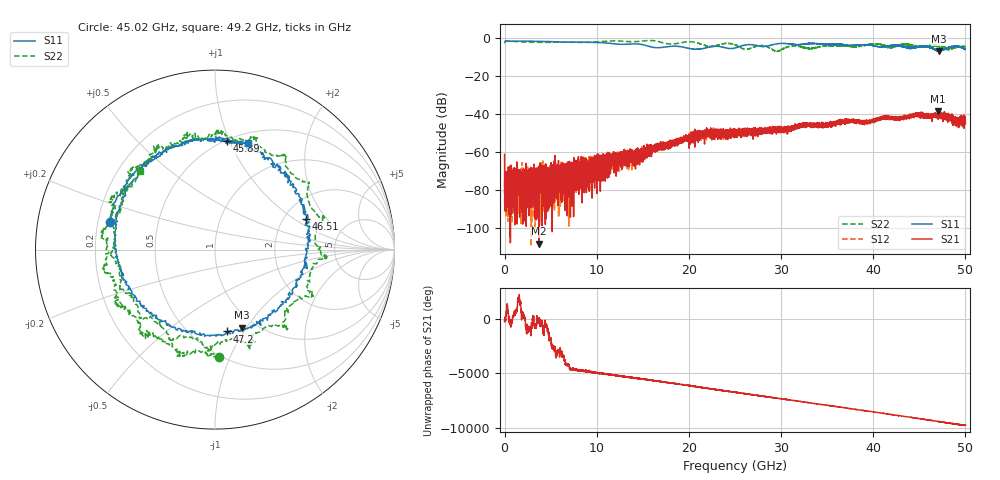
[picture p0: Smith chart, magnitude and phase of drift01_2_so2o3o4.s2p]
!Created with skrf (http://scikit-rf.org).
# Hz S RI R 50.0
!freq ReS11 ImS11 ReS21 ImS21 ReS12 ImS12 ReS22 ImS22
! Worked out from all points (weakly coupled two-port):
!   10001 points, 300 kHz to 50 GHz, reference 50 ohm
!   highest |S21| = -38.24 dB at 47.06 GHz (marker M1); lowest = -108.3 dB at 3.71 GHz (marker M2)
!   lowest |S11| = -6.7 dB at 47.15 GHz (marker M3), VSWR 2.71, Z = 43.4 - j47.9 ohm
!   |S11| at or under -10 dB: nowhere
!   |S22| runs from -6.9 to -1.1 dB; largest |S21 - S12| = 0.0037
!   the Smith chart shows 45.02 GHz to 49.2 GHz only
!   S11 on the Smith chart (normalised r, x): 45.02 GHz: 0.25, +0.12; 45.89 GHz: 0.51, +0.98; 46.51 GHz: 2.61, +1.25; 47.2 GHz: 0.73, -0.85; 49.2 GHz: 0.60, +1.17
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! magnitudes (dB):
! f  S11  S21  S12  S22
! 300 kHz  -2.1  -61.1  -75.0  -1.3
! 255.3 MHz  -1.4  -81.3  -76.8  -1.4
! 3.71 GHz  -1.5  -108.3  -78.3  -2.0
! 6.755 GHz  -2.0  -93.2  -66.3  -1.9
! 8.335 GHz  -2.0  -70.9  -65.6  -2.1
! 16.67 GHz  -4.9  -56.6  -58.2  -1.6
! 22.01 GHz  -4.8  -50.1  -48.4  -4.0
! 25 GHz  -5.0  -52.2  -51.1  -3.4
! 26.17 GHz  -3.4  -51.2  -49.1  -5.8
! 28.09 GHz  -4.3  -48.5  -48.1  -3.8
! 29.51 GHz  -2.9  -48.2  -48.7  -6.7
! 31.26 GHz  -3.2  -47.8  -46.7  -3.9
! 33.34 GHz  -2.6  -45.4  -46.1  -5.3
! 41.67 GHz  -3.9  -41.5  -41.9  -4.7
! 45.02 GHz  -4.3  -40.0  -40.2  -4.5
! 45.89 GHz  -4.3  -40.0  -41.3  -4.3
! 46.51 GHz  -5.5  -40.5  -40.2  -3.9
! 47.06 GHz  -6.1  -38.2  -41.0  -4.3
! 47.15 GHz  -6.7  -41.3  -40.4  -4.0
! 47.2 GHz  -6.7  -40.8  -40.4  -4.6
! 49.2 GHz  -4.1  -43.2  -43.7  -4.4
! 50 GHz  -5.7  -45.1  -43.3  -4.3
